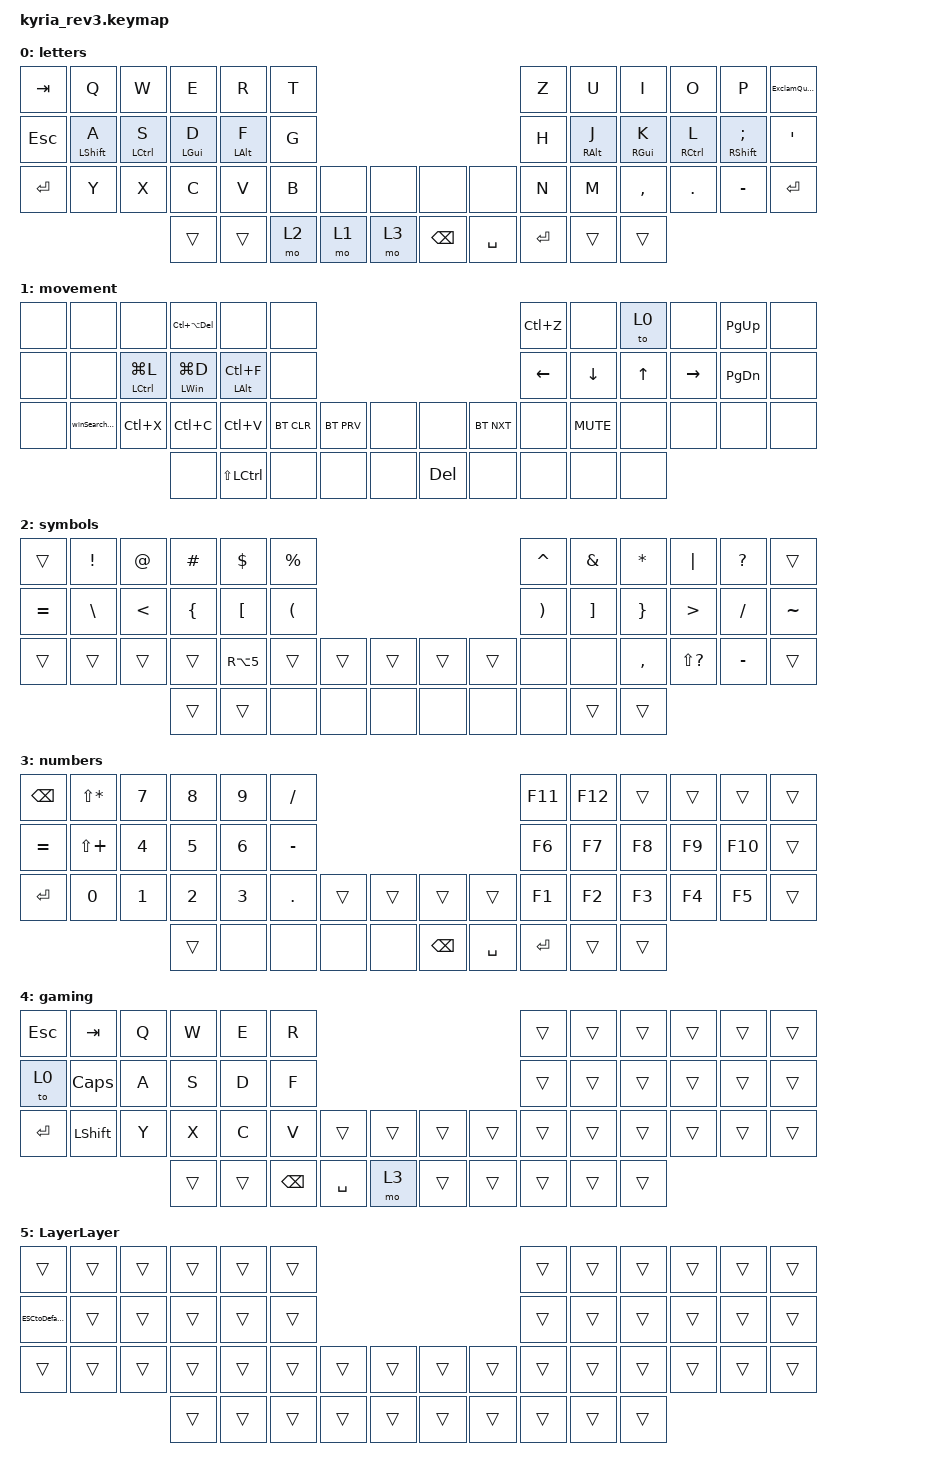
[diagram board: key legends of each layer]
/*
 * Copyright (c) 2023 The ZMK Contributors
 *
 * SPDX-License-Identifier: MIT
 */

#include <behaviors.dtsi>
#include <dt-bindings/zmk/bt.h>
#include <dt-bindings/zmk/keys.h>

// layer numbers

#define default 0
#define writing 1

// Uncomment this block if using RGB

&led_strip {
    //chain-length = <6>;
    // chain-length = <31>; // Uncomment if using both per-key and underglow LEDs
    //chain-length = <25>; // Uncomment if using only per-key LEDs.
};

&mt { flavor = "tap-preferred"; };

/ {
    macros {
        ESCtoDefaultLayer: ESCtoDefaultLayer {
            compatible = "zmk,behavior-macro";
            #binding-cells = <0>;
            bindings = <&kp ESC &to 1>;
            label = "ESCTODEFAULTLAYER";
        };

        winSearchForProg: winSearchForProg {
            compatible = "zmk,behavior-macro";
            #binding-cells = <0>;
            bindings = <&kp LEFT_GUI &to 0>;
            label = "WINSEARCHFORPROG";
        };
    };

    combos {
        compatible = "zmk,combos";

        toNumberLayer {
            bindings = <&to 3>;
            key-positions = <42 47>;
        };

        toTheLayerLayer {
            bindings = <&mo 5>;
            key-positions = <44 45>;
        };

        BLClear {
            bindings = <&bt BT_CLR>;
            key-positions = <30 33>;
        };
    };

    behaviors {
        ExclamQuestionMark: ExclamQuestionMark {
            compatible = "zmk,behavior-tap-dance";
            label = "EXCLAMQUESTIONMARK";
            #binding-cells = <0>;
            bindings = <&kp QUESTION>, <&kp EXCLAMATION>;
        };
    };

    keymap {
        compatible = "zmk,keymap";

        writing {
            bindings = <
&kp TAB     &kp Q        &kp W               &kp E           &kp R           &kp T                                     &kp Z    &kp U            &kp I            &kp O                &kp P                      &ExclamQuestionMark
&kp ESCAPE  &mt LSHFT A  &mt LEFT_CONTROL S  &mt LEFT_GUI D  &mt LEFT_ALT F  &kp G                                     &kp H    &mt RIGHT_ALT J  &mt RIGHT_GUI K  &mt RIGHT_CONTROL L  &mt RIGHT_SHIFT SEMICOLON  &kp SINGLE_QUOTE
&kp ENTER   &kp Y        &kp X               &kp C           &kp V           &kp B  &none  &none  &none     &none      &kp N    &kp M            &kp COMMA        &kp PERIOD           &kp MINUS                  &kp RET
                                             &trans          &trans          &mo 2  &mo 1  &mo 3  &kp BSPC  &kp SPACE  &kp RET  &trans           &trans
            >;

            label = "letters";
        };

        Movement {
            // ---------------------------------------------------------------------------------------------------------------------------------
            // |  ESC  |  Q  |  W  |  E   |  R   |  T   |                                          |  Y   |  U    |  I    |  O   |   P   |   \  |
            // |  TAB  |  A  |  S  |  D   |  F   |  G   |                                          |  H   |  J    |  K    |  L   |   ;   |   '  |
            // | SHIFT |  Z  |  X  |  C   |  V   |  B   | L SHIFT | L SHIFT |  | L SHIFT | L SHIFT |  N   |  M    |  ,    |  .   |   /   | CTRL |
            //                     | GUI  | DEL  | RET  |  SPACE  |   ESC   |  |   RET   |  SPACE  | TAB  | BSPC  | R-ALT |

            bindings = <
&none  &none              &none                   &kp LC(LA(DELETE))  &none                 &none                                               &kp LC(Z)  &none       &to 0   &none      &kp PAGE_UP    &none
&none  &none              &mt LEFT_CONTROL LG(L)  &mt LEFT_WIN LG(D)  &mt LEFT_ALT LC(F)    &none                                               &kp LEFT   &kp DOWN    &kp UP  &kp RIGHT  &kp PAGE_DOWN  &none
&none  &winSearchForProg  &kp LC(X)               &kp LC(C)           &kp LC(V)             &bt BT_CLR  &bt BT_PRV  &none  &none    &bt BT_NXT  &none      &kp C_MUTE  &none   &none      &none          &none
                                                  &none               &kp LS(LEFT_CONTROL)  &none       &none       &none  &kp DEL  &none       &none      &none       &none
            >;

            // rotary sensor binding
            // sensor-bindings = <&inc_dec_kp C_VOL_UP C_VOL_DN &inc_dec_kp PG_UP PG_DN>;

            label = "movement";
        };

        Symbols {
            bindings = <
&trans     &kp EXCLAMATION  &kp AT_SIGN    &kp POUND       &kp DOLLAR        &kp PERCENT                                           &kp CARET              &kp AMPERSAND      &kp ASTERISK     &kp PIPE          &kp QUESTION  &trans
&kp EQUAL  &kp BACKSLASH    &kp LESS_THAN  &kp LEFT_BRACE  &kp LEFT_BRACKET  &kp LEFT_PARENTHESIS                                  &kp RIGHT_PARENTHESIS  &kp RIGHT_BRACKET  &kp RIGHT_BRACE  &kp GREATER_THAN  &kp SLASH     &kp TILDE
&trans     &trans           &trans         &trans          &kp RA(N5)        &trans                &trans  &trans  &trans  &trans  &none                  &none              &kp COMMA        &kp LS(QMARK)     &kp MINUS     &trans
                                           &trans          &trans            &none                 &none   &none   &none   &none   &none                  &trans             &trans
            >;

            label = "symbols";
        };

        Numbers {
            bindings = <
&kp BACKSPACE  &kp LS(STAR)  &kp N7  &kp N8  &kp N9  &kp FSLH                                             &kp F11  &kp F12  &trans  &trans  &trans   &trans
&kp EQUAL      &kp LS(PLUS)  &kp N4  &kp N5  &kp N6  &kp MINUS                                            &kp F6   &kp F7   &kp F8  &kp F9  &kp F10  &trans
&kp ENTER      &kp N0        &kp N1  &kp N2  &kp N3  &kp DOT    &trans  &trans  &trans         &trans     &kp F1   &kp F2   &kp F3  &kp F4  &kp F5   &trans
                                     &trans  &none   &none      &none   &none   &kp BACKSPACE  &kp SPACE  &kp RET  &trans   &trans
            >;

            label = "numbers";
        };

        Gaming {
            bindings = <
&kp ESCAPE  &kp TAB    &kp Q  &kp W   &kp E   &kp R                                             &trans  &trans  &trans  &trans  &trans  &trans
&to 0       &kp CAPS   &kp A  &kp S   &kp D   &kp F                                             &trans  &trans  &trans  &trans  &trans  &trans
&kp ENTER   &kp LSHFT  &kp Y  &kp X   &kp C   &kp V          &trans     &trans  &trans  &trans  &trans  &trans  &trans  &trans  &trans  &trans
                              &trans  &trans  &kp BACKSPACE  &kp SPACE  &mo 3   &trans  &trans  &trans  &trans  &trans
            >;

            label = "gaming";
        };

        theLayerLayer {
            bindings = <
&trans              &trans  &trans  &trans  &trans  &trans                                  &trans  &trans  &trans  &trans  &trans  &trans
&ESCtoDefaultLayer  &trans  &trans  &trans  &trans  &trans                                  &trans  &trans  &trans  &trans  &trans  &trans
&trans              &trans  &trans  &trans  &trans  &trans  &trans  &trans  &trans  &trans  &trans  &trans  &trans  &trans  &trans  &trans
                                    &trans  &trans  &trans  &trans  &trans  &trans  &trans  &trans  &trans  &trans
            >;

            label = "LayerLayer";
        };
    };
};
